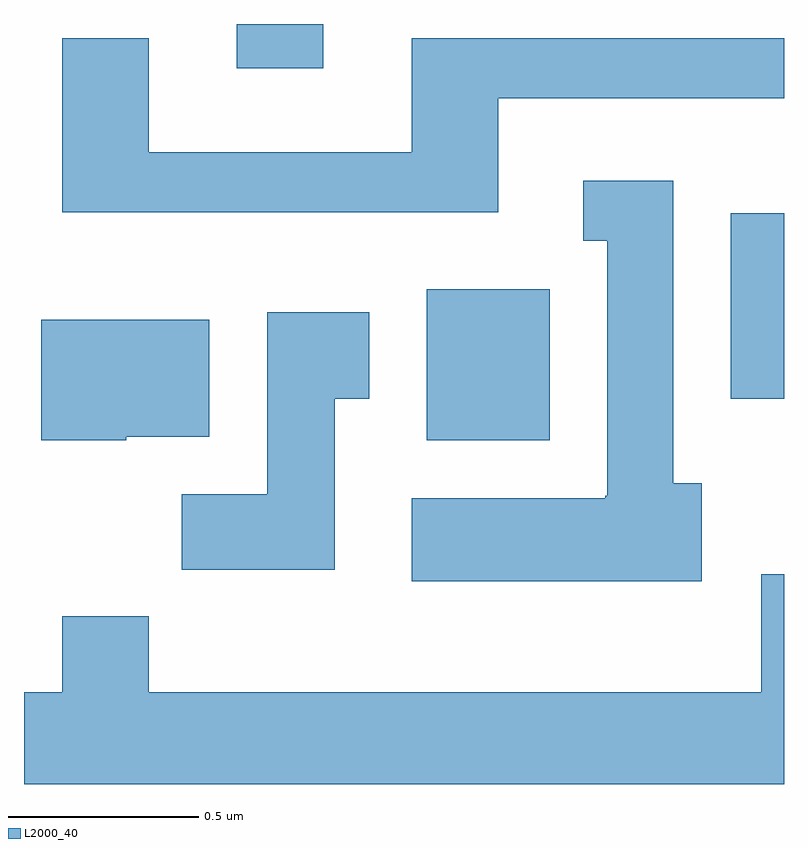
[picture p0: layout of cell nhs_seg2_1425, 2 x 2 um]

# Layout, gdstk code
import gdstk
lib = gdstk.Library(unit=1e-6, precision=1e-09)
def R(c, l, rs):  # rectangles x0, y0, x1, y1
    for r in rs: c.add(gdstk.rectangle(r[:2], r[2:], *l))
def P(c, l, *ps):  # polygons
    for p in ps: c.add(gdstk.Polygon(p, *l))
L2000_40 = (2000, 40)

nhs_seg2_1425 = lib.new_cell('nhs_seg2_1425')
R(nhs_seg2_1425, L2000_40, [(196.671,1033.706,196.994,1034.104), (197.471,1033.816,197.611,1034.304), (196.171,1034.686,196.399,1034.802)])
P(nhs_seg2_1425, L2000_40, [(196.859,1034.606),(197.611,1034.606),(197.611,1034.764),(196.631,1034.764),(196.631,1034.464),(195.939,1034.464),(195.939,1034.764),(195.711,1034.764),(195.711,1034.306),(196.859,1034.306)],
  [(197.394,1033.594),(197.319,1033.594),(197.319,1034.389),(197.083,1034.389),(197.083,1034.231),(197.146,1034.231),(197.146,1033.56),(197.14,1033.56),(197.14,1033.554),(196.631,1033.554),(196.631,1033.336),(197.394,1033.336)],
  [(196.429,1033.816),(196.519,1033.816),(196.519,1034.044),(196.251,1034.044),(196.251,1033.564),(196.026,1033.564),(196.026,1033.366),(196.429,1033.366)],
  [(195.88,1033.716),(196.099,1033.716),(196.099,1034.024),(195.656,1034.024),(195.656,1033.706),(195.88,1033.706)],
  [(197.611,1033.354),(197.551,1033.354),(197.551,1033.044),(195.939,1033.044),(195.939,1033.244),(195.711,1033.244),(195.711,1033.044),(195.611,1033.044),(195.611,1032.802),(197.611,1032.802)])

lib.write_gds('nhs_seg2_1425.gds')
